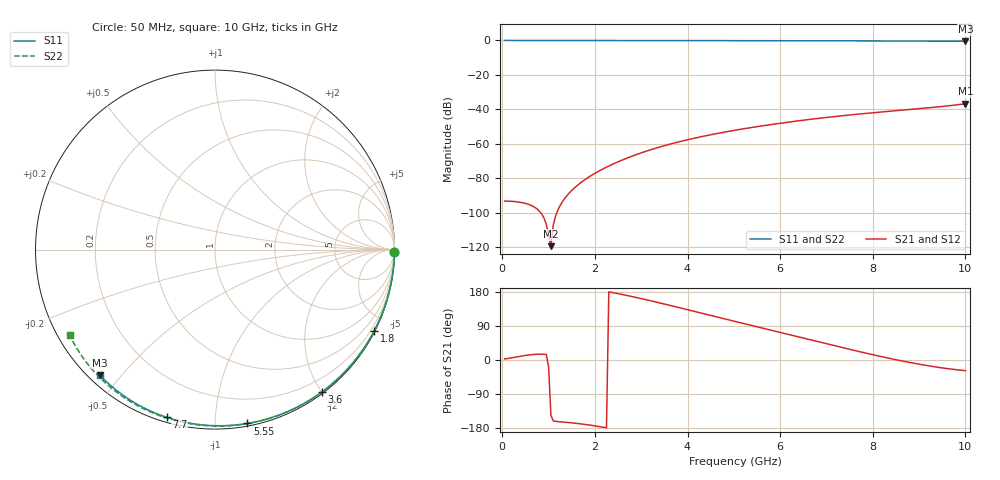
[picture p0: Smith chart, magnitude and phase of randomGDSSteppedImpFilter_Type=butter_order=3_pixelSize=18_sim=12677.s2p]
! freq	dB(S11)	phase(S11)	dB(S12)	phase(S12)
!  dB(S21)	phase(S21)	dB(S22)	phase(S22)
!S-par simulation data
#  GHz  S  DB  R 50
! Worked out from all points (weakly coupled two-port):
!   200 points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, 50 MHz to 10 GHz, reference 50 ohm
!   highest |S21| = -36.74 dB at 10 GHz (marker M1); lowest = -119.3 dB at 1.05 GHz (marker M2)
!   lowest |S11| = -0.5 dB at 10 GHz (marker M3), VSWR 38.25, Z = 1.56 - j21.9 ohm
!   |S11| at or under -10 dB: nowhere
!   |S22| runs from -0.5 to 0.0 dB; largest |S21 - S12| = 0
!   S11 on the Smith chart (normalised r, x): 50 MHz: open; 1.8 GHz: 0.04, -4.13; 3.6 GHz: 0.02, -2.00; 5.55 GHz: 0.02, -1.20; 7.7 GHz: 0.02, -0.75; 10 GHz: 0.03, -0.44
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0.05  -0.00 -0.8  -93.14 2.9  -93.14 2.9  -0.00 -0.9
0.55  -0.01 -8.4  -94.90 13.0  -94.90 13.0  -0.01 -9.5
1.05  -0.02 -16.0  -119.30 -145.6  -119.30 -145.6  -0.02 -18.0
1.75  -0.03 -26.5  -81.38 -169.4  -81.38 -169.4  -0.04 -29.8
1.8  -0.03 -27.2  -80.44 -170.2  -80.44 -170.2  -0.04 -30.6
1.85  -0.04 -28.0  -79.54 -171.1  -79.54 -171.1  -0.04 -31.5
2.05  -0.04 -30.9  -76.28 -174.8  -76.28 -174.8  -0.04 -34.8
2.2  -0.04 -33.1  -74.14 -177.9  -74.14 -177.9  -0.05 -37.3
2.55  -0.05 -38.2  -69.79 173.9  -69.79 173.9  -0.06 -43.0
2.95  -0.06 -44.0  -65.66 163.5  -65.66 163.5  -0.06 -49.4
3.4  -0.07 -50.4  -61.79 150.7  -61.79 150.7  -0.08 -56.6
3.6  -0.07 -53.2  -60.28 144.8  -60.28 144.8  -0.08 -59.7
3.9  -0.08 -57.4  -58.22 135.8  -58.22 135.8  -0.09 -64.4
4.3  -0.09 -62.9  -55.79 123.7  -55.79 123.7  -0.10 -70.5
5.05  -0.11 -72.9  -51.96 101.1  -51.96 101.1  -0.13 -81.7
5.55  -0.13 -79.5  -49.78 86.2  -49.78 86.2  -0.15 -88.9
6.1  -0.15 -86.5  -47.65 69.8  -47.65 69.8  -0.17 -96.7
6.7  -0.18 -94.0  -45.58 51.9  -45.58 51.9  -0.21 -105.1
7.7  -0.24 -106.1  -42.68 22.4  -42.68 22.4  -0.27 -118.6
8.35  -0.29 -113.8  -41.10 4.6  -41.10 4.6  -0.33 -127.3
9.2  -0.37 -123.6  -39.09 -15.3  -39.09 -15.3  -0.42 -138.6
10  -0.45 -132.6  -36.74 -28.1  -36.74 -28.1  -0.54 -149.5
